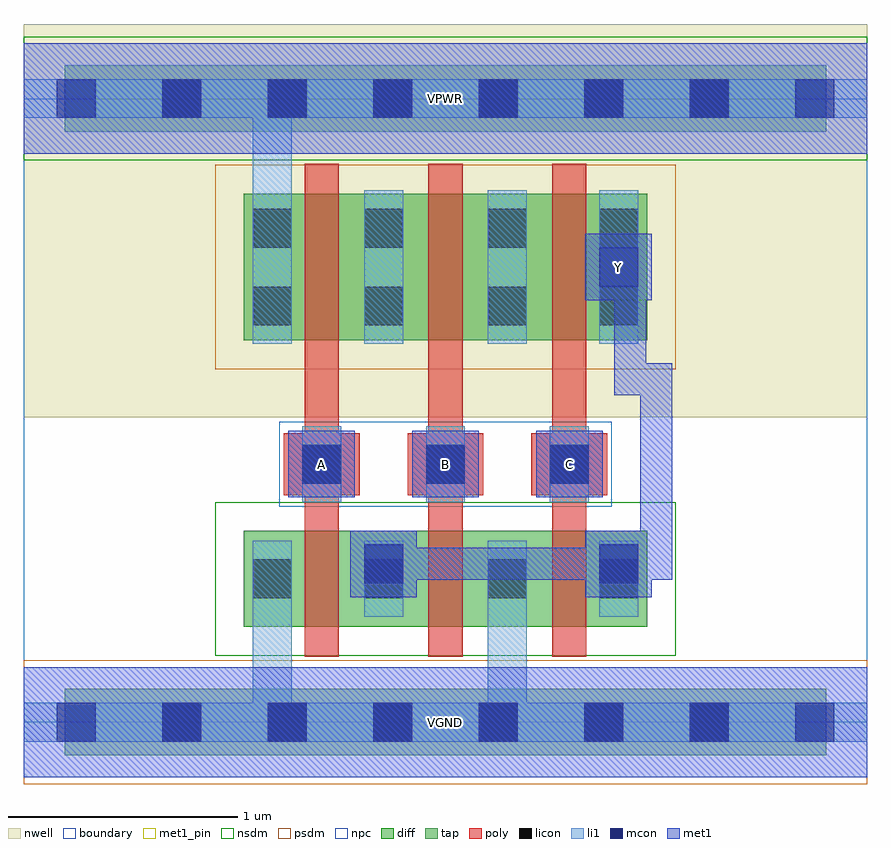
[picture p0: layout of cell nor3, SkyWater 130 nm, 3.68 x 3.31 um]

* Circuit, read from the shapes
.subckt nor3 A B C VGND VPWR Y
XM1 Y A VGND VGND sky130_fd_pr__nfet_01v8 w=0.42 l=0.15
XM2 VGND B Y VGND sky130_fd_pr__nfet_01v8 w=0.42 l=0.15
XM3 Y C VGND VGND sky130_fd_pr__nfet_01v8 w=0.42 l=0.15
XM4 n1 A VPWR VPWR sky130_fd_pr__pfet_01v8 w=0.64 l=0.15
XM5 n2 B n1 VPWR sky130_fd_pr__pfet_01v8 w=0.64 l=0.15
XM6 Y C n2 VPWR sky130_fd_pr__pfet_01v8 w=0.64 l=0.15
.ends

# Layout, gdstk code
import gdstk
lib = gdstk.Library(unit=1e-6, precision=1e-09)
def R(c, l, rs):  # rectangles x0, y0, x1, y1
    for r in rs: c.add(gdstk.rectangle(r[:2], r[2:], *l))
def A(c, l, x, y, w, h, nx, ny, dx, dy):  # array of equal rectangles
    R(c, l, [(x+i*dx, y+j*dy, x+i*dx+w, y+j*dy+h) for i in range(nx) for j in range(ny)])
nwell = (64, 20)
diff = (65, 20)
tap = (65, 44)
poly = (66, 20)
licon = (66, 44)
li1 = (67, 20)
mcon = (67, 44)
met1_pin = (68, 16)
met1 = (68, 20)
nsdm = (93, 44)
psdm = (94, 20)
npc = (95, 20)
boundary = (235, 4)

nor3 = lib.new_cell('nor3')
R(nor3, nwell, [(0,1.33,3.68,3.045)])
R(nor3, diff, [(0.96,0.415,2.72,0.835), (0.96,1.665,2.72,2.305)])
R(nor3, tap, [(0.18,-0.145,3.5,0.145), (0.18,2.575,3.5,2.865)])
A(nor3, poly, 1.225, 0.285, 0.15, 2.15, 3, 1, 0.54, 0)
A(nor3, poly, 1.135, 0.99, 0.33, 0.27, 3, 1, 0.54, 0)
A(nor3, licon, 0.605, -0.085, 0.17, 0.17, 6, 2, 0.46, 2.72)
A(nor3, licon, 1.215, 1.04, 0.17, 0.17, 3, 1, 0.54, 0)
R(nor3, licon, [(1,0.54,1.17,0.71), (1.485,0.54,1.655,0.71), (2.025,0.54,2.195,0.71), (2.51,0.54,2.68,0.71), (1,1.73,1.17,1.9), (1.485,1.73,1.655,1.9), (2.025,1.73,2.195,1.9), (2.51,1.73,2.68,1.9), (1,2.07,1.17,2.24), (1.485,2.07,1.655,2.24), (2.025,2.07,2.195,2.24), (2.51,2.07,2.68,2.24)])
A(nor3, li1, 1.215, 0.96, 0.17, 0.33, 3, 1, 0.54, 0)
R(nor3, li1, [(0,-0.085,3.68,0.085), (1,-0.085,1.17,0.79), (2.025,-0.085,2.195,0.79), (1,0.46,1.17,0.79), (1.485,0.46,1.655,0.79), (2.025,0.46,2.195,0.79), (2.51,0.46,2.68,0.79), (1,1.65,1.17,2.32), (1,1.65,1.17,2.805), (1.485,1.65,1.655,2.32), (2.025,1.65,2.195,2.32), (2.51,1.65,2.68,2.32), (0,2.635,3.68,2.805)])
A(nor3, mcon, 0.145, -0.085, 0.17, 0.17, 8, 2, 0.46, 2.72)
A(nor3, mcon, 1.215, 1.04, 0.17, 0.17, 3, 1, 0.54, 0)
R(nor3, mcon, [(1.485,0.605,1.655,0.775), (2.51,0.605,2.68,0.775), (2.51,1.9,2.68,2.07)])
A(nor3, met1_pin, 1.155, 0.98, 0.29, 0.29, 3, 1, 0.54, 0)
R(nor3, met1_pin, [(0,-0.24,3.68,0.24), (2.45,1.84,2.74,2.13), (0,2.48,3.68,2.96)])
A(nor3, met1, 1.155, 0.98, 0.29, 0.29, 3, 1, 0.54, 0)
R(nor3, met1, [(0,-0.24,3.68,0.24), (1.425,0.545,1.715,0.835), (2.45,0.545,2.74,0.835), (1.5,0.62,1.795,0.76), (1.655,0.62,2.83,0.76), (2.525,0.62,2.83,0.76), (2.69,0.62,2.83,1.565), (2.575,1.425,2.715,2.025), (2.575,1.425,2.83,1.565), (2.45,1.84,2.74,2.13), (2.575,1.885,2.715,2.025), (0,2.48,3.68,2.96)])
R(nor3, nsdm, [(0.835,0.29,2.845,0.96), (0,2.45,3.68,2.99)])
R(nor3, psdm, [(0,-0.27,3.68,0.27), (0.835,1.54,2.845,2.43)])
R(nor3, npc, [(1.115,0.94,2.565,1.31)])
R(nor3, boundary, [(0,0,3.68,2.72)])
nor3.add(gdstk.Label('A', (1.3,1.125), layer=68, texttype=5))
nor3.add(gdstk.Label('B', (1.84,1.125), layer=68, texttype=5))
nor3.add(gdstk.Label('C', (2.38,1.125), layer=68, texttype=5))
nor3.add(gdstk.Label('Y', (2.595,1.985), layer=68, texttype=5))
nor3.add(gdstk.Label('VPWR', (1.84,2.72), layer=68, texttype=5))
nor3.add(gdstk.Label('VGND', (1.84,0), layer=68, texttype=5))
nor3.add(gdstk.Label('A', (1.3,1.125), layer=68, texttype=16))
nor3.add(gdstk.Label('B', (1.84,1.125), layer=68, texttype=16))
nor3.add(gdstk.Label('C', (2.38,1.125), layer=68, texttype=16))
nor3.add(gdstk.Label('Y', (2.595,1.985), layer=68, texttype=16))
nor3.add(gdstk.Label('VPWR', (1.84,2.72), layer=68, texttype=16))
nor3.add(gdstk.Label('VGND', (1.84,0), layer=68, texttype=16))

lib.write_gds('nor3.gds')
